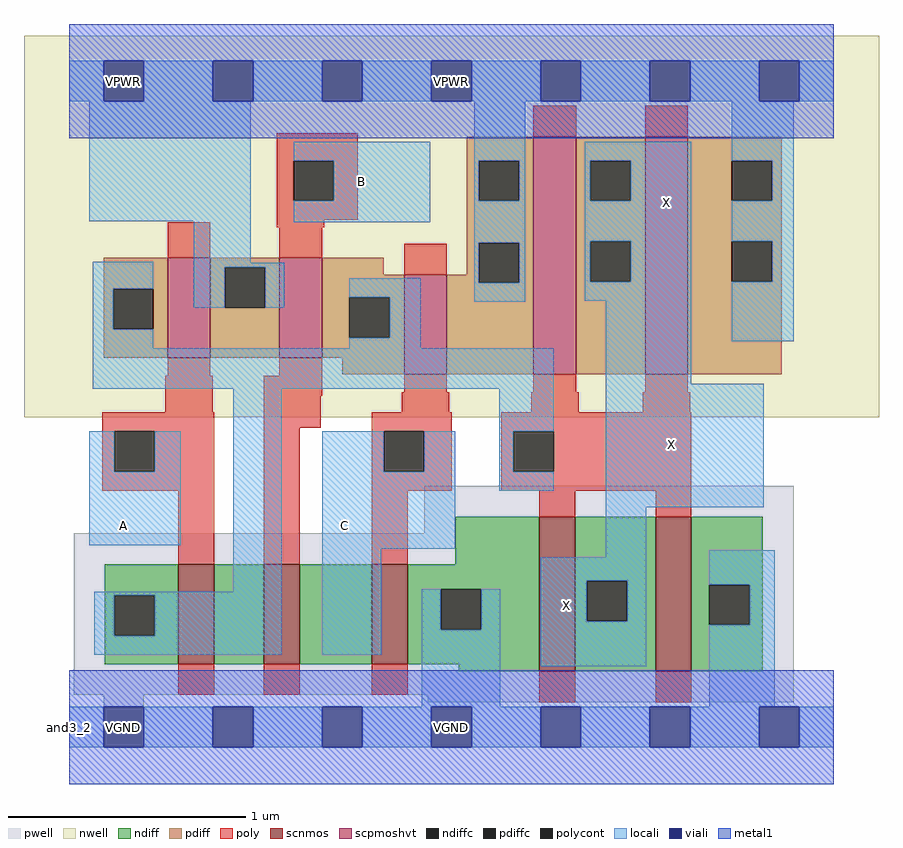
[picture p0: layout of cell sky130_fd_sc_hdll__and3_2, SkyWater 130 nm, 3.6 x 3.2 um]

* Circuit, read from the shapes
.subckt sky130_fd_sc_hdll__and3_2 A B C VGND VNB VPB VPWR X
XM1 n1 A n2 VNB sky130_fd_pr__nfet_01v8 w=0.42 l=0.15
XM2 n3 B n1 VNB sky130_fd_pr__nfet_01v8 w=0.42 l=0.15
XM3 VGND C n3 VNB sky130_fd_pr__nfet_01v8 w=0.42 l=0.15
XM4 X n2 VGND VNB sky130_fd_pr__nfet_01v8 w=0.65 l=0.15 m=2
XM5 VPWR A n2 VPB sky130_fd_pr__pfet_01v8_hvt w=0.42 l=0.18
XM6 n2 B VPWR VPB sky130_fd_pr__pfet_01v8_hvt w=0.42 l=0.18
XM7 VPWR C n2 VPB sky130_fd_pr__pfet_01v8_hvt w=0.42 l=0.18
XM8 X n2 VPWR VPB sky130_fd_pr__pfet_01v8_hvt w=1 l=0.18 m=2
.ends

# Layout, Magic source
magic
tech sky130A
magscale 1 2
<< nwell >>
rect -38 261 682 582
<< pwell >>
rect 299 163 610 203
rect 4 27 610 163
rect 29 -17 63 27
rect 302 21 610 27
<< scnmos >>
rect 92 53 122 137
rect 164 53 194 137
rect 255 53 285 137
rect 396 47 426 177
rect 494 47 524 177
<< scpmoshvt >>
rect 83 311 119 395
rect 177 311 213 395
rect 282 297 318 381
rect 391 297 427 497
rect 485 297 521 497
<< ndiff >>
rect 325 137 396 177
rect 30 111 92 137
rect 30 77 38 111
rect 72 77 92 111
rect 30 53 92 77
rect 122 53 164 137
rect 194 53 255 137
rect 285 116 396 137
rect 285 82 313 116
rect 347 82 396 116
rect 285 53 396 82
rect 328 47 396 53
rect 426 123 494 177
rect 426 89 436 123
rect 470 89 494 123
rect 426 47 494 89
rect 524 120 584 177
rect 524 86 539 120
rect 573 86 584 120
rect 524 47 584 86
<< pdiff >>
rect 335 477 391 497
rect 335 443 345 477
rect 379 443 391 477
rect 335 408 391 443
rect 29 369 83 395
rect 29 335 37 369
rect 71 335 83 369
rect 29 311 83 335
rect 119 387 177 395
rect 119 353 131 387
rect 165 353 177 387
rect 119 311 177 353
rect 213 381 265 395
rect 335 381 345 408
rect 213 362 282 381
rect 213 328 236 362
rect 270 328 282 362
rect 213 311 282 328
rect 230 297 282 311
rect 318 374 345 381
rect 379 374 391 408
rect 318 297 391 374
rect 427 477 485 497
rect 427 443 439 477
rect 473 443 485 477
rect 427 409 485 443
rect 427 375 439 409
rect 473 375 485 409
rect 427 297 485 375
rect 521 477 600 497
rect 521 443 558 477
rect 592 443 600 477
rect 521 409 600 443
rect 521 375 558 409
rect 592 375 600 409
rect 521 297 600 375
<< ndiffc >>
rect 38 77 72 111
rect 313 82 347 116
rect 436 89 470 123
rect 539 86 573 120
<< pdiffc >>
rect 345 443 379 477
rect 37 335 71 369
rect 131 353 165 387
rect 236 328 270 362
rect 345 374 379 408
rect 439 443 473 477
rect 439 375 473 409
rect 558 443 592 477
rect 558 375 592 409
<< poly >>
rect 175 477 243 500
rect 391 497 427 523
rect 485 497 521 523
rect 175 443 189 477
rect 223 443 243 477
rect 175 427 243 443
rect 83 395 119 425
rect 175 421 215 427
rect 177 395 213 421
rect 282 381 318 407
rect 83 296 119 311
rect 177 296 213 311
rect 81 265 121 296
rect 164 279 213 296
rect 282 282 318 297
rect 391 282 427 297
rect 485 282 521 297
rect 28 249 122 265
rect 28 215 38 249
rect 72 215 122 249
rect 28 199 122 215
rect 92 137 122 199
rect 164 252 212 279
rect 280 265 320 282
rect 389 265 429 282
rect 483 265 523 282
rect 164 137 194 252
rect 255 249 322 265
rect 255 215 265 249
rect 299 215 322 249
rect 255 199 322 215
rect 364 249 524 265
rect 364 215 374 249
rect 408 215 524 249
rect 364 199 524 215
rect 255 137 285 199
rect 396 177 426 199
rect 494 177 524 199
rect 92 27 122 53
rect 164 27 194 53
rect 255 27 285 53
rect 396 21 426 47
rect 494 21 524 47
<< polycont >>
rect 189 443 223 477
rect 38 215 72 249
rect 265 215 299 249
rect 374 215 408 249
<< locali >>
rect 0 527 29 561
rect 63 527 121 561
rect 155 527 213 561
rect 247 527 305 561
rect 339 527 397 561
rect 431 527 489 561
rect 523 527 581 561
rect 615 527 644 561
rect 17 426 153 527
rect 20 369 71 392
rect 20 335 37 369
rect 105 391 153 426
rect 189 477 304 493
rect 223 443 304 477
rect 189 425 304 443
rect 341 477 384 527
rect 341 443 345 477
rect 379 443 384 477
rect 341 408 384 443
rect 105 387 181 391
rect 105 353 131 387
rect 165 353 181 387
rect 236 362 296 378
rect 20 319 71 335
rect 270 328 296 362
rect 341 374 345 408
rect 379 374 384 408
rect 341 358 384 374
rect 434 477 524 493
rect 434 443 439 477
rect 473 443 524 477
rect 434 409 524 443
rect 434 375 439 409
rect 473 375 524 409
rect 434 359 524 375
rect 236 319 296 328
rect 20 285 408 319
rect 17 215 38 249
rect 72 215 94 249
rect 17 153 94 215
rect 138 114 179 285
rect 362 249 408 285
rect 21 111 179 114
rect 21 77 38 111
rect 72 77 179 111
rect 21 61 179 77
rect 213 215 265 249
rect 299 215 325 249
rect 213 150 325 215
rect 362 215 374 249
rect 362 199 408 215
rect 452 289 524 359
rect 558 477 610 527
rect 592 443 610 477
rect 558 409 610 443
rect 592 375 610 409
rect 558 325 610 375
rect 452 185 585 289
rect 213 61 263 150
rect 452 143 486 185
rect 397 123 486 143
rect 297 82 313 116
rect 347 82 363 116
rect 297 17 363 82
rect 397 89 436 123
rect 470 89 486 123
rect 397 51 486 89
rect 539 120 594 149
rect 573 86 594 120
rect 539 17 594 86
rect 0 -17 29 17
rect 63 -17 121 17
rect 155 -17 213 17
rect 247 -17 305 17
rect 339 -17 397 17
rect 431 -17 489 17
rect 523 -17 581 17
rect 615 -17 644 17
<< viali >>
rect 29 527 63 561
rect 121 527 155 561
rect 213 527 247 561
rect 305 527 339 561
rect 397 527 431 561
rect 489 527 523 561
rect 581 527 615 561
rect 29 -17 63 17
rect 121 -17 155 17
rect 213 -17 247 17
rect 305 -17 339 17
rect 397 -17 431 17
rect 489 -17 523 17
rect 581 -17 615 17
<< metal1 >>
rect 0 561 644 592
rect 0 527 29 561
rect 63 527 121 561
rect 155 527 213 561
rect 247 527 305 561
rect 339 527 397 561
rect 431 527 489 561
rect 523 527 581 561
rect 615 527 644 561
rect 0 496 644 527
rect 0 17 644 48
rect 0 -17 29 17
rect 63 -17 121 17
rect 155 -17 213 17
rect 247 -17 305 17
rect 339 -17 397 17
rect 431 -17 489 17
rect 523 -17 581 17
rect 615 -17 644 17
rect 0 -48 644 -17
<< labels >>
flabel locali s 189 425 304 493 0 FreeSans 400 0 0 0 B
port 2 nsew signal input
flabel locali s 402 85 436 119 0 FreeSans 200 0 0 0 X
port 8 nsew signal output
flabel locali s 486 425 520 459 0 FreeSans 200 0 0 0 X
port 8 nsew signal output
flabel locali s 29 153 63 187 0 FreeSans 400 0 0 0 A
port 1 nsew signal input
flabel locali s 215 153 249 187 0 FreeSans 400 0 0 0 C
port 3 nsew signal input
flabel locali s 490 221 524 255 0 FreeSans 200 0 0 0 X
port 8 nsew signal output
flabel metal1 s 29 527 63 561 0 FreeSans 200 0 0 0 VPWR
port 7 nsew power bidirectional
flabel metal1 s 29 -17 63 17 0 FreeSans 200 0 0 0 VGND
port 4 nsew ground bidirectional
flabel metal1 s 46 544 46 544 0 FreeSans 200 0 0 0 VPWR
port 7 nsew
flabel metal1 s 46 0 46 0 0 FreeSans 200 0 0 0 VGND
port 4 nsew
flabel nwell s 29 527 63 561 0 FreeSans 200 0 0 0 VPB
port 6 nsew power bidirectional
flabel pwell s 29 -17 63 17 0 FreeSans 200 0 0 0 VNB
port 5 nsew ground bidirectional
rlabel comment s 0 0 0 0 4 and3_2
rlabel metal1 s 0 -48 644 48 1 VGND
port 4 nsew ground bidirectional
rlabel metal1 s 0 496 644 592 1 VPWR
port 7 nsew power bidirectional
<< properties >>
string LEFsite unithd
string LEFclass CORE
string FIXED_BBOX 0 0 644 544
string GDS_FILE $PDKPATH/libs.ref/sky130_fd_sc_hdll/gds/sky130_fd_sc_hdll.gds
string LEFsymmetry X Y R90
string GDS_END 1798062
string GDS_START 1791998
string LEFproperties maskLayoutSubType "abstract" prCellType "standard" originalViewName "layout"
<< end >>
